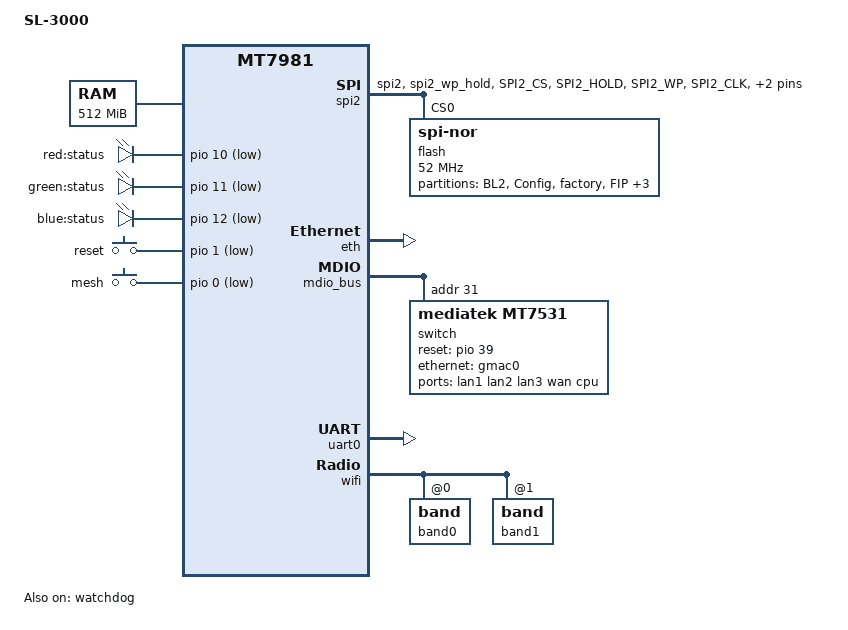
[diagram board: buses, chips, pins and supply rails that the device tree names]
// SPDX-License-Identifier: GPL-2.0-or-later 
/*
 * Copyright (C) 2023 Air Jinkela <air_jinkela@163.com>
 */

/dts-v1/;
#include <dt-bindings/gpio/gpio.h>
#include <dt-bindings/input/input.h>
#include <dt-bindings/leds/common.h>

#include "mt7981.dtsi"

/ {
	model = "SL-3000";
	compatible = "sl,3000", "mediatek,mt7981";
	
	chosen {
        stdout-path = "serial0:115200n8";
	};

    memory {
		reg = <0 0x40000000 0 0x20000000>;
	};

    aliases {
		led-boot = &red_led;
		led-failsafe = &red_led;
		led-running = &green_led;
		led-upgrade = &blue_led;
        serial0 = &uart0;
	};

	gpio-leds {
		compatible = "gpio-leds";

		red_led: led-0 {
			label = "red:status";
			gpios = <&pio 10 GPIO_ACTIVE_LOW>;
		};

		green_led: led-1 {
			label = "green:status";
			gpios = <&pio 11 GPIO_ACTIVE_LOW>;
		};

		blue_led: led-2 {
			label = "blue:status";
			gpios = <&pio  12 GPIO_ACTIVE_LOW>;
		};
	};

	gpio-keys {
		compatible = "gpio-keys";

		reset {
			label = "reset";
			linux,code = <KEY_RESTART>;
			gpios = <&pio 1 GPIO_ACTIVE_LOW>;
		};

		mesh {
			label = "mesh";
			gpios = <&pio 0 GPIO_ACTIVE_LOW>;
			linux,code = <KEY_WPS_BUTTON>;
		};
	};
};


&spi1 {
	pinctrl-names = "default";
	pinctrl-0 = <&spic_pins>;
	status = "disabled";
};

&spi2 {
	pinctrl-names = "default";
	pinctrl-0 = <&spi2_flash_pins>;
	status = "okay";
	flash@0 {
		#address-cells = <1>;
		#size-cells = <1>;
		compatible = "jedec,spi-nor";
		spi-cal-enable;
		spi-cal-mode = "read-data";
		spi-cal-datalen = <7>;
		spi-cal-data = /bits/ 8 <0x53 0x46 0x5F 0x42 0x4F 0x4F 0x54>; /* SF_BOOT */
		spi-cal-addrlen = <1>;
		spi-cal-addr = /bits/ 32 <0x0>;
		reg = <0>;
		spi-max-frequency = <52000000>;
		spi-tx-bus-width = <4>;
		spi-rx-bus-width = <4>;

		partition@00000 {
			label = "BL2";
			reg = <0x00000 0x0100000>;
		};
		partition@100000 {
			label = "Config";
			reg = <0x100000 0x080000>;
		};
		factory: partition@180000 {
			label = "factory";
			reg = <0x180000 0x0200000>;
			read-only;

			nvmem-layout {
				compatible = "fixed-layout";
				#address-cells = <1>;
				#size-cells = <1>;

				eeprom_factory_0: eeprom@0 {
					reg = <0x0 0x1000>;
				};
				
				macaddr_factory_4: macaddr@4 {
					compatible = "mac-base";
					reg = <0x4 0x6>;
					#nvmem-cell-cells = <1>;
				};
			};
		};
		partition@380000 {
			label = "FIP";
			reg = <0x380000 0x0200000>;
		};
		partition@580000 {
			label = "firmware";
			reg = <0x580000 0x1900000>;
		};
		partition@1E80000 {
			label = "Product";
			reg = <0x1E80000 0x20000>;
		};
		partition@1EA0000 {
			label = "Custom";
			reg = <0x1EA0000 0x160000>;
		};
	};
};

&pio {
	spic_pins: spi1-pins {
		mux {
			function = "spi";
			groups = "spi1_1";
		};
	};

	spi2_flash_pins: spi2-pins {
		mux {
			function = "spi";
			groups = "spi2", "spi2_wp_hold";
		};

		conf-pu {
			pins = "SPI2_CS", "SPI2_HOLD", "SPI2_WP";
			drive-strength = <MTK_DRIVE_8mA>;
			bias-pull-up = <MTK_PUPD_SET_R1R0_11>;
		};

		conf-pd {
			pins = "SPI2_CLK", "SPI2_MOSI", "SPI2_MISO";
			drive-strength = <MTK_DRIVE_8mA>;
			bias-pull-down = <MTK_PUPD_SET_R1R0_11>;
		};
	};
};

&eth {
	status = "okay";

	gmac0: mac@0 {
        compatible = "mediatek,eth-mac";
        reg = <0>;
        phy-mode = "2500base-x";

        fixed-link {
            speed = <2500>;
            full-duplex;
            pause;
        };
    };

	gmac1: mac@1 {
        compatible = "mediatek,eth-mac";
        reg = <1>;
        phy-mode = "2500base-x";

        fixed-link {
            speed = <2500>;
            full-duplex;
            pause;
        };
    };
};

&mdio_bus {
    switch: switch@1f {
        compatible = "mediatek,mt7531";
		reg = <31>;
        reset-gpios = <&pio 39 GPIO_ACTIVE_HIGH>;
    };
};

&switch {
    ports {
        #address-cells = <1>;
        #size-cells = <0>;

        port@0 {
            reg = <0>;
            label = "lan1";
        };

        port@1 {
            reg = <1>;
            label = "lan2";
        };

        port@2 {
            reg = <2>;
            label = "lan3";
        };

        port@3 {
            reg = <3>;
            label = "wan";
        };

        port@6 {
            reg = <6>;
            label = "cpu";
            ethernet = <&gmac0>;
            phy-mode = "2500base-x";

            fixed-link {
                speed = <2500>;
                full-duplex;
                pause;
            };
        };
    };
};

&uart0 {
	status = "okay";
};

&watchdog {
	status = "okay";
};

&wifi {
	nvmem-cells = <&eeprom_factory_0>;
	nvmem-cell-names = "eeprom";
	status = "okay";

	band0: band@0 {
		reg = <0>;
		nvmem-cells = <&macaddr_factory_4 1>;
		nvmem-cell-names = "mac-address";
	};

	band1: band@1 {
		reg = <1>;
		nvmem-cells = <&macaddr_factory_4 2>;
		nvmem-cell-names = "mac-address";
	};
};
